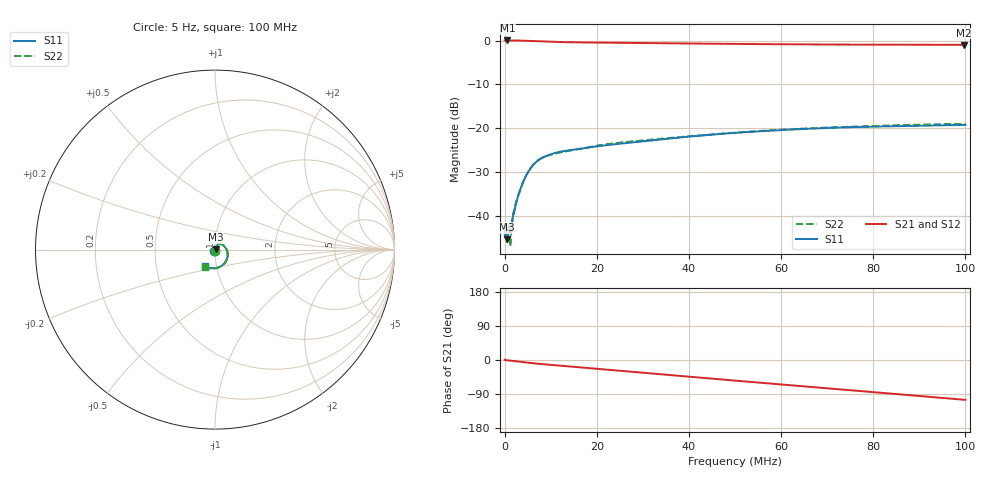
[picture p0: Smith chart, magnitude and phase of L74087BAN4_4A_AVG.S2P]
!Agilent Technologies,E5061B,MY49102235,A.02.00
!Date: Tue Jul 11 16:14:35 2023
!Data & Calibration Information:
!Freq	S11:SOLT2(ON)	S21:SOLT2(ON)	S12:SOLT2(ON)	S22:SOLT2(ON)
# Hz S RI R 50
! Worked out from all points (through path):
!   1600 points, 5 Hz to 100 MHz, reference 50 ohm
!   highest |S21| = 0.02 dB at 625.4 kHz (marker M1); lowest = -1.0 dB at 99.75 MHz (marker M2)
!   group delay of S21, straight-line fit = 2.87 ns
!   lowest |S11| = -45.4 dB at 500.3 kHz (marker M3), VSWR 1.01, Z = 50.5 + j0.267 ohm
!   |S11| at or under -10 dB: start of sweep to end of sweep
!   |S22| runs from -46.9 to -19.0 dB; largest |S21 - S12| = 0.0025
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5  -0.00517 -0.00566  1.002 0.00811  1 0.0102  -0.00151 -0.00754
500317.7  0.00469 0.00264  1.001 -0.0107  1.002 -0.0107  0.00491 0.00104
625395.8  0.00523 0.00327  1.002 -0.0144  1.002 -0.014  0.00624 0.00287
938091.3  0.00458 0.00541  1.001 -0.0207  1.001 -0.0205  0.00614 0.00482
1313326  0.00493 0.00596  1.001 -0.0296  1.001 -0.0298  0.00313 0.00442
1688560  0.00452 0.00787  0.9996 -0.0397  1.001 -0.0399  0.00424 0.00704
2063795  0.00409 0.0107  1 -0.0489  1 -0.0495  0.00453 0.0105
2376490  0.00464 0.0123  0.9983 -0.0563  0.999 -0.0569  0.0053 0.0126
2939342  0.00653 0.0157  0.9972 -0.0705  0.9969 -0.0708  0.0055 0.0161
3502194  0.00804 0.0189  0.9949 -0.0844  0.995 -0.0845  0.00713 0.0195
4752975  0.0134 0.026  0.9875 -0.1151  0.9878 -0.1151  0.013 0.0263
6128835  0.0226 0.0302  0.9762 -0.1452  0.9764 -0.1455  0.022 0.0306
7817390  0.0331 0.0304  0.9611 -0.1776  0.961 -0.1776  0.0326 0.0309
9881180  0.0426 0.0264  0.9447 -0.2125  0.9445 -0.2125  0.0419 0.0265
1.669794e7  0.0575 0.0112  0.8964 -0.3203  0.8963 -0.3202  0.0572 0.0111
2.332708e7  0.065 -0.00124  0.8446 -0.4226  0.8444 -0.4227  0.0667 -0.0024
3.333334e7  0.0702 -0.0228  0.7438 -0.5629  0.7438 -0.5628  0.0713 -0.0239
5.003127e7  0.0621 -0.063  0.5332 -0.7442  0.5331 -0.7442  0.0618 -0.0641
6.672921e7  0.0284 -0.0947  0.2887 -0.8556  0.2889 -0.8556  0.0291 -0.0955
8.33646e7  -0.0146 -0.104  0.0283 -0.8957  0.0282 -0.8959  -0.0144 -0.1062
9.974984e7  -0.0566 -0.0933  -0.2306 -0.8628  -0.2305 -0.863  -0.0566 -0.0963
1e8  -0.0571 -0.0931  -0.2345 -0.8618  -0.2345 -0.862  -0.0573 -0.0959
